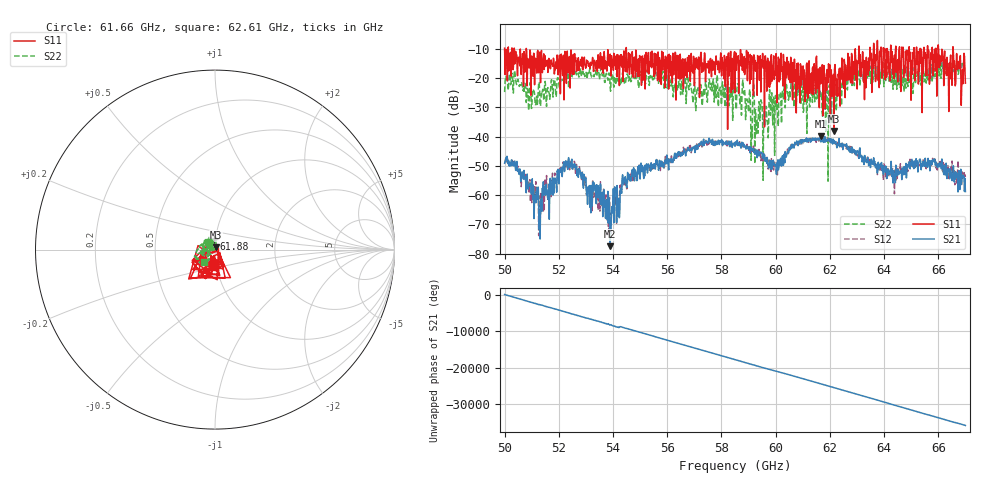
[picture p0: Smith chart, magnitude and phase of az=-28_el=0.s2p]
!Created with skrf (http://scikit-rf.org).
# GHz S RI R 50.0
!freq ReS11 ImS11 ReS21 ImS21 ReS12 ImS12 ReS22 ImS22
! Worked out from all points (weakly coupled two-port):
!   1001 points, 50 GHz to 67 GHz, reference 50 ohm
!   highest |S21| = -39.88 dB at 61.68 GHz (marker M1); lowest = -77.4 dB at 53.89 GHz (marker M2)
!   lowest |S11| = -38.1 dB at 62.16 GHz (marker M3), VSWR 1.03, Z = 50.4 + j1.2 ohm
!   |S11| at or under -10 dB: 50.8 GHz to 54.49 GHz (3.685 GHz wide, 7 % of centre); 54.49 GHz to 62.94 GHz (8.447 GHz wide, 14.4 % of centre); 66.01 GHz to 66.54 GHz (528.8 MHz wide, 0.798 % of centre) (the widest 3 of 30)
!   |S22| runs from -55.2 to -13.9 dB; largest |S21 - S12| = 0.0029
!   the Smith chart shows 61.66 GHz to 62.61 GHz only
!   S11 on the Smith chart (normalised r, x): 61.66 GHz: 0.97, -0.15; 61.88 GHz: 0.98, +0.12; 62.61 GHz: 0.87, -0.11
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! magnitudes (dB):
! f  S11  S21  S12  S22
! 50 GHz  -9.8  -49.1  -49.2  -24.8
! 51.29 GHz  -11.2  -65.6  -60.3  -24.3
! 52.28 GHz  -21.8  -49.8  -49.8  -20.3
! 52.84 GHz  -13.3  -54.3  -54.7  -19.5
! 53.67 GHz  -11.0  -58.2  -59.5  -19.4
! 53.89 GHz  -11.8  -77.4  -75.5  -23.2
! 54.37 GHz  -21.2  -54.1  -54.3  -18.2
! 55.68 GHz  -13.5  -51.5  -49.6  -21.8
! 58.5 GHz  -25.1  -43.3  -42.5  -24.0
! 59.32 GHz  -25.9  -47.2  -45.0  -34.3
! 59.84 GHz  -12.0  -48.3  -47.5  -25.2
! 60.01 GHz  -11.7  -50.2  -51.4  -28.6
! 60.64 GHz  -14.7  -42.7  -42.8  -22.7
! 61.34 GHz  -25.2  -40.9  -40.7  -25.7
! 61.66 GHz  -22.0  -41.8  -41.2  -26.2
! 61.68 GHz  -21.0  -39.9  -41.3  -24.8
! 61.88 GHz  -24.2  -41.5  -41.4  -23.1
! 62.16 GHz  -38.1  -41.3  -41.8  -28.6
! 62.61 GHz  -20.8  -42.5  -44.2  -20.5
! 64.18 GHz  -17.7  -52.7  -53.8  -18.6
! 65.79 GHz  -14.2  -47.8  -47.4  -17.6
! 67 GHz  -21.7  -58.8  -53.7  -15.8
